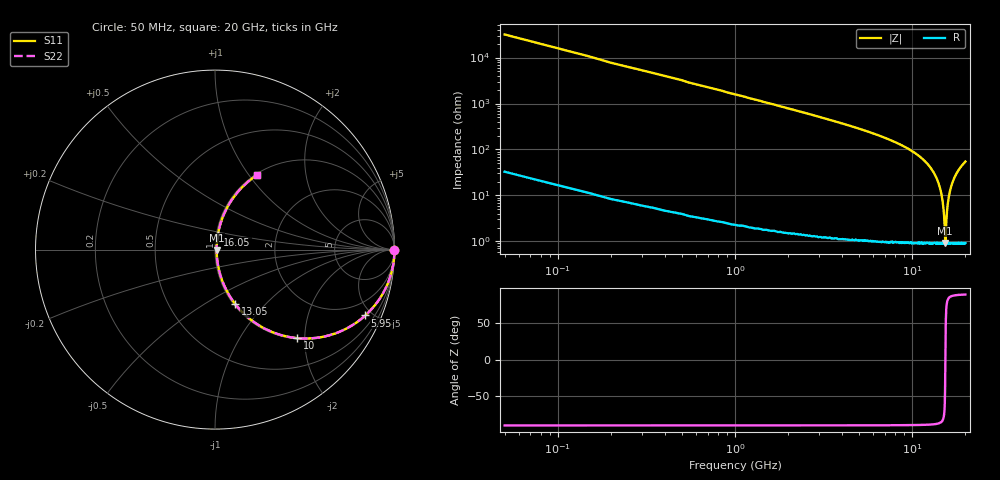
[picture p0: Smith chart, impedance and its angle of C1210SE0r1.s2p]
! AVX Thin Film Operation		Date: April 2012
! Description: Accu-P® Series, Thin Film, SMD, RF Capacitor
! Part Number: 12101J0R1PBTTR
!	50	MHz	-	20.05	GHz
!	Serial	Measurements
#	MHZ	S	MA	R	50
!	S11	S21	S12	S22
!	dB	Phase	dB	Phase	dB	Phase	dB	Phase
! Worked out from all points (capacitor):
!   400 points, 50 MHz to 20 GHz, reference 50 ohm
!   read as one part in series: C = 102 fF near 150 MHz
!   lowest |Z| = 927 mohm at 15.4 GHz (marker M1)
!   series resonance near 15.41 GHz, so ESL is about 1 nH
!   S11 on the Smith chart (normalised r, x): 50 MHz: open; 5.95 GHz: 1.02, -4.55; 10 GHz: 1.02, -1.84; 13.05 GHz: 1.02, -0.69; 16.05 GHz: 1.02, +0.17; 20 GHz: 1.02, +1.09
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50  1 -0.2  0.003142 89.8  0.003142 89.8  1 -0.2
150  1 -0.5  0.009425 89.4  0.009425 89.4  1 -0.5
300  1 -1.1  0.019 88.9  0.019 88.9  1 -1.1
900  0.998 -3.2  0.057 86.7  0.057 86.7  0.998 -3.2
1950  0.992 -7.1  0.124 82.8  0.124 82.8  0.992 -7.1
3400  0.975 -12.6  0.219 77.2  0.219 77.2  0.975 -12.6
5950  0.914 -23.7  0.402 66.1  0.402 66.1  0.914 -23.7
6700  0.886 -27.4  0.46 62.3  0.46 62.3  0.886 -27.4
10000  0.674 -47.0  0.732 42.4  0.732 42.4  0.674 -47.0
10050  0.67 -47.4  0.736 42.1  0.736 42.1  0.67 -47.4
13050  0.324 -69.6  0.938 18.9  0.938 18.9  0.324 -69.6
13350  0.283 -71.8  0.95 16.4  0.95 16.4  0.283 -71.8
14250  0.159 -77.7  0.978 9.1  0.978 9.1  0.159 -77.7
14850  0.077 -78.9  0.988 4.4  0.988 4.4  0.077 -78.9
15150  0.037 -73.7  0.99 2.0  0.99 2.0  0.037 -73.7
15400  0.009184 -11.9  0.991 0.1  0.991 0.1  0.009184 -11.9
15450  0.01 27.5  0.991 -0.3  0.991 -0.3  0.01 27.5
15700  0.039 74.4  0.99 -2.2  0.99 -2.2  0.039 74.4
16050  0.083 79.1  0.988 -4.7  0.988 -4.7  0.083 79.1
16700  0.162 77.5  0.978 -9.3  0.978 -9.3  0.162 77.5
18050  0.309 70.4  0.943 -18.0  0.943 -18.0  0.309 70.4
20000  0.475 60.7  0.872 -28.3  0.872 -28.3  0.475 60.7
